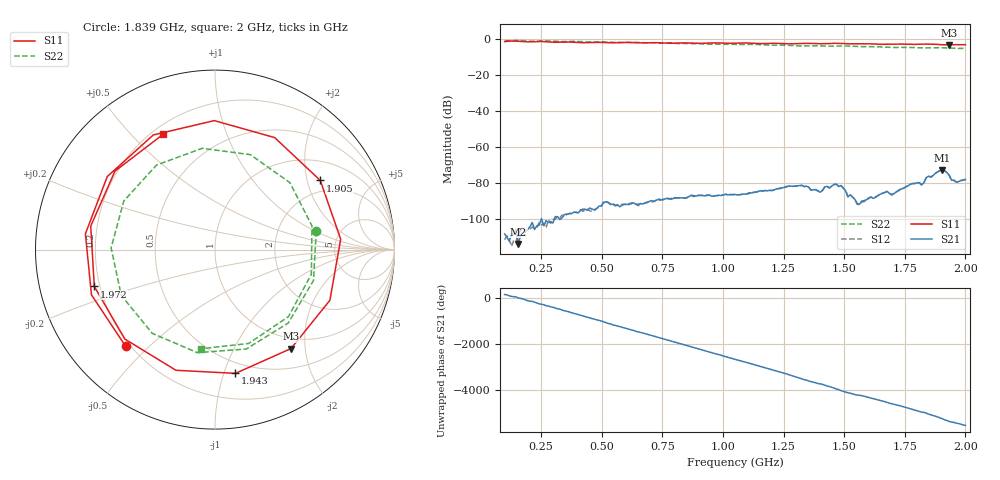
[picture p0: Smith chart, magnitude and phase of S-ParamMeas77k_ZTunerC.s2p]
!Keysight Technologies,N5242B,MY48420967,A.15.65.19
!Date: Monday, December 19, 2022 10:52:17
!Correction: S11(C  2-Port  )
!S21(C  2-Port  )
!S12(C  2-Port  )
!S22(C  2-Port  )
!S2P File: Measurements: S11, S21, S12, S22:
# Hz S  dB  R 50
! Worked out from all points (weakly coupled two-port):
!   201 points, 100 MHz to 2 GHz, reference 50 ohm
!   highest |S21| = -72.69 dB at 1.905 GHz (marker M1); lowest = -114.0 dB at 157 MHz (marker M2)
!   lowest |S11| = -3.2 dB at 1.933 GHz (marker M3), VSWR 5.56, Z = 40.6 - j86.7 ohm
!   |S11| at or under -10 dB: nowhere
!   |S22| runs from -5.1 to -0.7 dB; largest |S21 - S12| = 4e-06
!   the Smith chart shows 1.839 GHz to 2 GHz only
!   S11 on the Smith chart (normalised r, x): 1.839 GHz: 0.18, -0.42; 1.905 GHz: 1.59, +2.41; 1.943 GHz: 0.41, -1.09; 1.972 GHz: 0.18, -0.14; 2 GHz: 0.24, +0.62
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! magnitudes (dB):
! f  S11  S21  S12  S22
! 100 MHz  -1.3  -108.3  -111.5  -1.0
! 157 MHz  -1.1  -114.0  -108.4  -0.7
! 423 MHz  -1.9  -94.5  -95.8  -1.4
! 736.5 MHz  -2.0  -89.0  -89.8  -2.0
! 1.05 GHz  -2.2  -86.4  -86.4  -2.9
! 1.373 GHz  -2.4  -83.8  -83.7  -3.6
! 1.687 GHz  -2.8  -85.8  -85.6  -4.5
! 1.819 GHz  -2.8  -81.0  -81.1  -4.8
! 1.829 GHz  -2.7  -79.8  -79.7  -4.8
! 1.839 GHz  -2.7  -77.0  -77.1  -4.8
! 1.848 GHz  -2.7  -76.2  -76.3  -4.8
! 1.857 GHz  -2.8  -76.6  -76.8  -4.8
! 1.877 GHz  -2.8  -74.6  -74.6  -4.7
! 1.905 GHz  -3.1  -72.7  -72.6  -4.7
! 1.915 GHz  -3.1  -73.2  -73.2  -4.8
! 1.933 GHz  -3.2  -75.8  -75.8  -4.9
! 1.943 GHz  -3.1  -78.5  -78.5  -5.0
! 1.952 GHz  -3.0  -78.4  -78.6  -5.0
! 1.962 GHz  -3.0  -79.3  -79.5  -5.1
! 1.972 GHz  -3.1  -79.3  -79.4  -5.1
! 1.981 GHz  -3.0  -78.6  -78.7  -5.1
! 2 GHz  -3.0  -78.0  -78.0  -5.1
